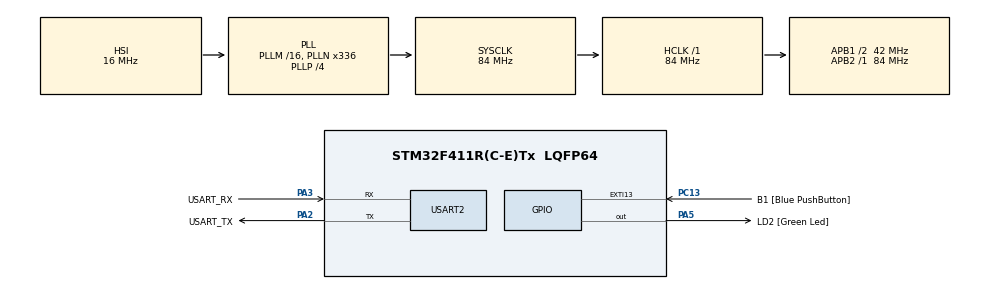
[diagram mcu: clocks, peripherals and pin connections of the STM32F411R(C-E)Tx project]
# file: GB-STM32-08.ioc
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Mcu.Family=STM32F4
Mcu.Name=STM32F411R(C-E)Tx
Mcu.Package=LQFP64
NVIC.PriorityGroup=NVIC_PRIORITYGROUP_0
PA13.GPIO_Label=TMS
PA13.Mode=Serial_Wire
PA13.Signal=SYS_JTMS-SWDIO
PA14.GPIO_Label=TCK
PA14.Mode=Serial_Wire
PA14.Signal=SYS_JTCK-SWCLK
PA2.GPIO_Label=USART_TX
PA2.Mode=Asynchronous
PA2.Signal=USART2_TX
PA3.GPIO_Label=USART_RX
PA3.Mode=Asynchronous
PA3.Signal=USART2_RX
PA5.GPIO_Label=LD2 [Green Led]
PA5.Signal=GPIO_Output
PB3.GPIO_Label=SWO
PB3.Signal=SYS_JTDO-SWO
PC13-ANTI_TAMP.GPIO_Label=B1 [Blue PushButton]
PC13-ANTI_TAMP.GPIO_ModeDefaultEXTI=GPIO_MODE_IT_FALLING
PC13-ANTI_TAMP.Signal=GPXTI13
PC14-OSC32_IN.Mode=LSE-External-Oscillator
PC14-OSC32_IN.Signal=RCC_OSC32_IN
PC15-OSC32_OUT.Mode=LSE-External-Oscillator
PC15-OSC32_OUT.Signal=RCC_OSC32_OUT
PH0\ -\ OSC_IN.Mode=HSE-External-Clock-Source
PH0\ -\ OSC_IN.Signal=RCC_OSC_IN
PH1\ -\ OSC_OUT.Mode=HSE-External-Clock-Source
PH1\ -\ OSC_OUT.Signal=RCC_OSC_OUT
ProjectManager.HeapSize=0x200
ProjectManager.StackSize=0x400
ProjectManager.TargetToolchain=STM32CubeIDE
RCC.48MHZClocksFreq_Value=84000000
RCC.AHBFreq_Value=84000000
RCC.APB1CLKDivider=RCC_HCLK_DIV2
RCC.APB1Freq_Value=42000000
RCC.APB1TimFreq_Value=84000000
RCC.APB2Freq_Value=84000000
RCC.APB2TimFreq_Value=84000000
RCC.CortexFreq_Value=84000000
RCC.FLatency-AdvancedSettings=FLASH_LATENCY_2
RCC.HCLKFreq_Value=84000000
RCC.HSE_VALUE=8000000
RCC.HSI_VALUE=16000000
RCC.PLLN=336
RCC.PLLP=RCC_PLLP_DIV4
RCC.SYSCLKFreq_VALUE=84000000
RCC.SYSCLKSource=RCC_SYSCLKSOURCE_PLLCLK
RCC.VCOOutputFreq_Value=336000000
USART2.VirtualMode=VM_ASYNC
board=NUCLEO-F411RE

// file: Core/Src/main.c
/* USER CODE BEGIN Header */
/**
  ******************************************************************************
  * @file           : main.c
  * @brief          : Main program body
  ******************************************************************************
  * @attention
  *
  * <h2><center>&copy; Copyright (c) 2021 STMicroelectronics.
  * All rights reserved.</center></h2>
  *
  * This software component is licensed by ST under BSD 3-Clause license,
  * the "License"; You may not use this file except in compliance with the
  * License. You may obtain a copy of the License at:
  *                        opensource.org/licenses/BSD-3-Clause
  *
  ******************************************************************************
  */
/* USER CODE END Header */
#include "main.h"

/* USER CODE BEGIN Includes */
#include "crypto.h"
/* USER CODE END Includes */

/* USER CODE BEGIN PTD */
typedef enum {FAILED = 0, PASSED = !FAILED} TestStatus;
/* USER CODE END PTD */

UART_HandleTypeDef huart2;

/* USER CODE BEGIN PV */
const uint8_t HeaderMessage[] =
  {
    0x00, 0x01, 0x02, 0x03, 0x04, 0x05, 0x06, 0x07
  };

uint32_t HeaderLength = sizeof (HeaderMessage) ;

const uint8_t Plaintext[] =
  {
    0x20, 0x21, 0x22, 0x23
  };

uint32_t InputLength = sizeof (Plaintext) ;

uint8_t Key[CRL_AES128_KEY] =
  {
    0x40, 0x41, 0x42, 0x43, 0x44, 0x45, 0x46, 0x47,
    0x48, 0x49, 0x4a, 0x4b, 0x4c, 0x4d, 0x4e, 0x4f
  };

uint8_t IV[] =
  {
    0x10, 0x11, 0x12, 0x13, 0x14, 0x15, 0x16
  };

const uint8_t Expected_Ciphertext[CIPHER_TEXT_LENGTH] =
  {
    0x71, 0x62, 0x01, 0x5b, 0x4d, 0xac, 0x25, 0x5d
  };

uint8_t encrypt_OutputMessage[64];
uint8_t decrypt_OutputMessage[64];
int32_t encrypt_OutputMessageLength = 0;
int32_t decrypt_OutputMessageLength = 0;
int32_t AuthenticationTAGLength = 0;

uint8_t tag[64];

static GPIO_InitTypeDef  GPIO_InitStruct;
/* USER CODE END PV */

void SystemClock_Config(void);
static void MX_GPIO_Init(void);
static void MX_USART2_UART_Init(void);
/* USER CODE BEGIN PFP */
int32_t STM32_AES_CCM_Encrypt(uint8_t*  HeaderMessage,
                              uint32_t  HeaderMessageLength,
                              uint8_t*  InputMessage,
                              uint32_t  InputMessageLength,
                              uint8_t  *AES128_Key,
                              uint8_t  *InitializationVector,
                              uint32_t  IvLength,
                              uint8_t  *OutputMessage,
                              int32_t *OutputMessageLength,
                              int32_t *AuthenticationTAGLength
                             );

int32_t STM32_AES_CCM_Decrypt(uint8_t*  HeaderMessage,
                              uint32_t  HeaderMessageLength,
                              uint8_t*  InputMessage,
                              uint32_t  InputMessageLength,
                              uint8_t  *AES128_Key,
                              uint8_t  *InitializationVector,
                              uint32_t  IvLength,
                              uint8_t  *OutputMessage,
                              int32_t *OutputMessageLength,
                              int32_t  AuthenticationTAGLength);

TestStatus Buffercmp(const uint8_t* pBuffer,
                     uint8_t* pBuffer1,
                     uint16_t BufferLength);

/* USER CODE END PFP */

int main(void)
{

  /* MCU Configuration--------------------------------------------------------*/

  /* Reset of all peripherals, Initializes the Flash interface and the Systick. */
  HAL_Init();

  /* Configure the system clock */
  SystemClock_Config();

  /* Initialize all configured peripherals */
  MX_GPIO_Init();
  MX_USART2_UART_Init();

  /* Infinite loop */
  while (1)
  {

  }
}

void SystemClock_Config(void)
{
  RCC_OscInitTypeDef RCC_OscInitStruct = {0};
  RCC_ClkInitTypeDef RCC_ClkInitStruct = {0};

  /** Configure the main internal regulator output voltage
  */
  __HAL_RCC_PWR_CLK_ENABLE();
  __HAL_PWR_VOLTAGESCALING_CONFIG(PWR_REGULATOR_VOLTAGE_SCALE1);
  /** Initializes the RCC Oscillators according to the specified parameters
  * in the RCC_OscInitTypeDef structure.
  */
  RCC_OscInitStruct.OscillatorType = RCC_OSCILLATORTYPE_HSI;
  RCC_OscInitStruct.HSIState = RCC_HSI_ON;
  RCC_OscInitStruct.HSICalibrationValue = RCC_HSICALIBRATION_DEFAULT;
  RCC_OscInitStruct.PLL.PLLState = RCC_PLL_ON;
  RCC_OscInitStruct.PLL.PLLSource = RCC_PLLSOURCE_HSI;
  RCC_OscInitStruct.PLL.PLLM = 16;
  RCC_OscInitStruct.PLL.PLLN = 336;
  RCC_OscInitStruct.PLL.PLLP = RCC_PLLP_DIV4;
  RCC_OscInitStruct.PLL.PLLQ = 4;
  if (HAL_RCC_OscConfig(&RCC_OscInitStruct) != HAL_OK)
  {
    Error_Handler();
  }
  /** Initializes the CPU, AHB and APB buses clocks
  */
  RCC_ClkInitStruct.ClockType = RCC_CLOCKTYPE_HCLK|RCC_CLOCKTYPE_SYSCLK
                              |RCC_CLOCKTYPE_PCLK1|RCC_CLOCKTYPE_PCLK2;
  RCC_ClkInitStruct.SYSCLKSource = RCC_SYSCLKSOURCE_PLLCLK;
  RCC_ClkInitStruct.AHBCLKDivider = RCC_SYSCLK_DIV1;
  RCC_ClkInitStruct.APB1CLKDivider = RCC_HCLK_DIV2;
  RCC_ClkInitStruct.APB2CLKDivider = RCC_HCLK_DIV1;

  if (HAL_RCC_ClockConfig(&RCC_ClkInitStruct, FLASH_LATENCY_2) != HAL_OK)
  {
    Error_Handler();
  }
}

static void MX_USART2_UART_Init(void)
{

  huart2.Instance = USART2;
  huart2.Init.BaudRate = 115200;
  huart2.Init.WordLength = UART_WORDLENGTH_8B;
  huart2.Init.StopBits = UART_STOPBITS_1;
  huart2.Init.Parity = UART_PARITY_NONE;
  huart2.Init.Mode = UART_MODE_TX_RX;
  huart2.Init.HwFlowCtl = UART_HWCONTROL_NONE;
  huart2.Init.OverSampling = UART_OVERSAMPLING_16;
  if (HAL_UART_Init(&huart2) != HAL_OK)
  {
    Error_Handler();
  }

}

static void MX_GPIO_Init(void)
{
  GPIO_InitTypeDef GPIO_InitStruct = {0};

  /* GPIO Ports Clock Enable */
  __HAL_RCC_GPIOC_CLK_ENABLE();
  __HAL_RCC_GPIOH_CLK_ENABLE();
  __HAL_RCC_GPIOA_CLK_ENABLE();
  __HAL_RCC_GPIOB_CLK_ENABLE();

  /*Configure GPIO pin Output Level */
  HAL_GPIO_WritePin(LD2_GPIO_Port, LD2_Pin, GPIO_PIN_RESET);

  /*Configure GPIO pin : B1_Pin */
  GPIO_InitStruct.Pin = B1_Pin;
  GPIO_InitStruct.Mode = GPIO_MODE_IT_FALLING;
  GPIO_InitStruct.Pull = GPIO_NOPULL;
  HAL_GPIO_Init(B1_GPIO_Port, &GPIO_InitStruct);

  /*Configure GPIO pin : LD2_Pin */
  GPIO_InitStruct.Pin = LD2_Pin;
  GPIO_InitStruct.Mode = GPIO_MODE_OUTPUT_PP;
  GPIO_InitStruct.Pull = GPIO_NOPULL;
  GPIO_InitStruct.Speed = GPIO_SPEED_FREQ_LOW;
  HAL_GPIO_Init(LD2_GPIO_Port, &GPIO_InitStruct);

}

void Error_Handler(void)
{
  __disable_irq();
  while (1)
  {
  }
}

/************************ (C) COPYRIGHT STMicroelectronics *****END OF FILE****/
